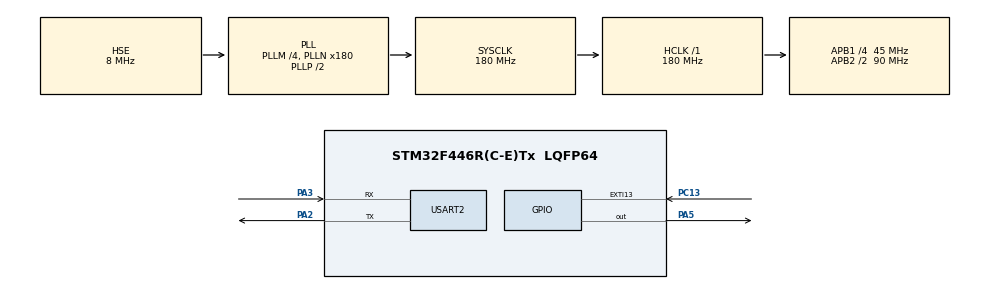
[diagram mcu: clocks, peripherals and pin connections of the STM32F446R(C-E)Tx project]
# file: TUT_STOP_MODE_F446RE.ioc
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Mcu.Family=STM32F4
Mcu.Name=STM32F446R(C-E)Tx
Mcu.Package=LQFP64
NVIC.EXTI15_10_IRQn=true\:0\:0\:false\:false\:true\:true\:true
NVIC.PriorityGroup=NVIC_PRIORITYGROUP_4
NVIC.RTC_WKUP_IRQn=true\:0\:0\:false\:false\:true\:true\:true
PA2.Mode=Asynchronous
PA2.Signal=USART2_TX
PA3.Mode=Asynchronous
PA3.Signal=USART2_RX
PA5.Signal=GPIO_Output
PC13.Signal=GPXTI13
PH0-OSC_IN.Mode=HSE-External-Oscillator
PH0-OSC_IN.Signal=RCC_OSC_IN
PH1-OSC_OUT.Mode=HSE-External-Oscillator
PH1-OSC_OUT.Signal=RCC_OSC_OUT
ProjectManager.HeapSize=0x200
ProjectManager.StackSize=0x400
ProjectManager.TargetToolchain=STM32CubeIDE
RCC.AHBFreq_Value=180000000
RCC.APB1CLKDivider=RCC_HCLK_DIV4
RCC.APB1Freq_Value=45000000
RCC.APB1TimFreq_Value=90000000
RCC.APB2CLKDivider=RCC_HCLK_DIV2
RCC.APB2Freq_Value=90000000
RCC.APB2TimFreq_Value=180000000
RCC.CortexFreq_Value=180000000
RCC.HCLKFreq_Value=180000000
RCC.HSE_VALUE=8000000
RCC.PLLM=4
RCC.PLLN=180
RCC.PLLSourceVirtual=RCC_PLLSOURCE_HSE
RCC.SYSCLKFreq_VALUE=180000000
RCC.SYSCLKSource=RCC_SYSCLKSOURCE_PLLCLK
RCC.USBFreq_Value=180000000
RCC.VCOOutputFreq_Value=360000000
USART2.VirtualMode=VM_ASYNC
VP_RTC_VS_RTC_Activate.Mode=RTC_Enabled
VP_RTC_VS_RTC_WakeUp_intern.Mode=WakeUp
board=custom

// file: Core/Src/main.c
/* USER CODE BEGIN Header */
/**
  ******************************************************************************
  * @file           : main.c
  * @brief          : Main program body
  ******************************************************************************
  * @attention
  *
  * <h2><center>&copy; Copyright (c) 2020 STMicroelectronics.
  * All rights reserved.</center></h2>
  *
  * This software component is licensed by ST under BSD 3-Clause license,
  * the "License"; You may not use this file except in compliance with the
  * License. You may obtain a copy of the License at:
  *                        opensource.org/licenses/BSD-3-Clause
  *
  ******************************************************************************
  */
/* USER CODE END Header */

#include "main.h"

/* USER CODE BEGIN Includes */

#include "string.h"

/* USER CODE END Includes */

RTC_HandleTypeDef hrtc;

UART_HandleTypeDef huart2;

void SystemClock_Config(void);
static void MX_GPIO_Init(void);
static void MX_USART2_UART_Init(void);
static void MX_RTC_Init(void);

/* USER CODE BEGIN 0 */

void HAL_GPIO_EXTI_Callback(uint16_t GPIO_Pin)
{
	if (GPIO_Pin == GPIO_PIN_13)
	{
		SystemClock_Config();
		HAL_ResumeTick();
		char *str = "WAKEUP FROM EXTII\n\n";
		HAL_UART_Transmit(&huart2, (uint8_t *) str, strlen (str), HAL_MAX_DELAY);
		HAL_PWR_DisableSleepOnExit();
	}
}

void HAL_RTCEx_WakeUpTimerEventCallback(RTC_HandleTypeDef *hrtc)
{
	SystemClock_Config();
	HAL_ResumeTick();
	char *str = "WAKEUP FROM RTC\n\n";
	HAL_UART_Transmit(&huart2, (uint8_t *) str, strlen (str), HAL_MAX_DELAY);
}

/* USER CODE END 0 */

int main(void)
{

  /* MCU Configuration--------------------------------------------------------*/

  /* Reset of all peripherals, Initializes the Flash interface and the Systick. */
  HAL_Init();

  /* Configure the system clock */
  SystemClock_Config();

  /* Initialize all configured peripherals */
  MX_GPIO_Init();
  MX_USART2_UART_Init();
  MX_RTC_Init();
  /* USER CODE BEGIN 2 */

  for (int i=0; i<20; i++)
  {
	  HAL_GPIO_TogglePin(GPIOA, GPIO_PIN_5);
	  HAL_Delay (200);
  }

  char *str = "ABOUT TO GO INTO THE STOP MODE\n\n";
  HAL_UART_Transmit(&huart2, (uint8_t *)str, strlen (str), HAL_MAX_DELAY);

  /*** RTC WAKEUP TIMER RELATED ****/

  /*## Configure the Wake up timer ###########################################*/
  /*  RTC Wake-up Interrupt Generation:
      Wake-up Time Base = (RTC_WAKEUPCLOCK_RTCCLK_DIV /(LSI))
      ==> WakeUpCounter = Wake-up Time / Wake-up Time Base

      To configure the wake up timer to 5s the WakeUpCounter is set to 0x2710:
        RTC_WAKEUPCLOCK_RTCCLK_DIV = RTCCLK_Div16 = 16
        Wake-up Time Base = 16 /(32KHz) = 0.0005 seconds
        ==> WakeUpCounter = ~5s/0.0005s = 20000 = 0x2710 */

  if (HAL_RTCEx_SetWakeUpTimer_IT(&hrtc, 0x2710, RTC_WAKEUPCLOCK_RTCCLK_DIV16) != HAL_OK)
  {
    Error_Handler();
  }

  /*** Suspend the systick before going into stop mode ****/
  HAL_SuspendTick();

  /*** enable sleep on exit for interrupt only operations ****/
  HAL_PWR_EnableSleepOnExit();

  /*** ENTER THE STOP MODE ****/
  HAL_PWR_EnterSTOPMode(PWR_LOWPOWERREGULATOR_ON, PWR_STOPENTRY_WFI);

  /*** wake up from stop mode ****/

  // disable the RTC wakeup
  HAL_RTCEx_DeactivateWakeUpTimer(&hrtc);

  for (int i=0; i<5; i++)
  {
	  HAL_GPIO_TogglePin(GPIOA, GPIO_PIN_5);
	  HAL_Delay (1000);
  }

  char *str2 = "WAKEUP FROM STOP MODE in the MAIN LOOP\n\n";
  HAL_UART_Transmit(&huart2, (uint8_t *)str2, strlen (str2), HAL_MAX_DELAY);

  /* USER CODE END 2 */

  /* Infinite loop */
  while (1)
  {

  }
}

void SystemClock_Config(void)
{
  RCC_OscInitTypeDef RCC_OscInitStruct = {0};
  RCC_ClkInitTypeDef RCC_ClkInitStruct = {0};
  RCC_PeriphCLKInitTypeDef PeriphClkInitStruct = {0};

  /** Configure the main internal regulator output voltage
  */
  __HAL_RCC_PWR_CLK_ENABLE();
  __HAL_PWR_VOLTAGESCALING_CONFIG(PWR_REGULATOR_VOLTAGE_SCALE1);
  /** Initializes the CPU, AHB and APB busses clocks
  */
  RCC_OscInitStruct.OscillatorType = RCC_OSCILLATORTYPE_LSI|RCC_OSCILLATORTYPE_HSE;
  RCC_OscInitStruct.HSEState = RCC_HSE_ON;
  RCC_OscInitStruct.LSEState = RCC_LSE_OFF;
  RCC_OscInitStruct.LSIState = RCC_LSI_ON;
  RCC_OscInitStruct.PLL.PLLState = RCC_PLL_ON;
  RCC_OscInitStruct.PLL.PLLSource = RCC_PLLSOURCE_HSE;
  RCC_OscInitStruct.PLL.PLLM = 4;
  RCC_OscInitStruct.PLL.PLLN = 180;
  RCC_OscInitStruct.PLL.PLLP = RCC_PLLP_DIV2;
  RCC_OscInitStruct.PLL.PLLQ = 2;
  RCC_OscInitStruct.PLL.PLLR = 2;
  if (HAL_RCC_OscConfig(&RCC_OscInitStruct) != HAL_OK)
  {
    Error_Handler();
  }
  /** Activate the Over-Drive mode
  */
  if (HAL_PWREx_EnableOverDrive() != HAL_OK)
  {
    Error_Handler();
  }
  /** Initializes the CPU, AHB and APB busses clocks
  */
  RCC_ClkInitStruct.ClockType = RCC_CLOCKTYPE_HCLK|RCC_CLOCKTYPE_SYSCLK
                              |RCC_CLOCKTYPE_PCLK1|RCC_CLOCKTYPE_PCLK2;
  RCC_ClkInitStruct.SYSCLKSource = RCC_SYSCLKSOURCE_PLLCLK;
  RCC_ClkInitStruct.AHBCLKDivider = RCC_SYSCLK_DIV1;
  RCC_ClkInitStruct.APB1CLKDivider = RCC_HCLK_DIV4;
  RCC_ClkInitStruct.APB2CLKDivider = RCC_HCLK_DIV2;

  if (HAL_RCC_ClockConfig(&RCC_ClkInitStruct, FLASH_LATENCY_5) != HAL_OK)
  {
    Error_Handler();
  }
  PeriphClkInitStruct.PeriphClockSelection = RCC_PERIPHCLK_RTC;
  PeriphClkInitStruct.RTCClockSelection = RCC_RTCCLKSOURCE_LSI;
  if (HAL_RCCEx_PeriphCLKConfig(&PeriphClkInitStruct) != HAL_OK)
  {
    Error_Handler();
  }
}

static void MX_RTC_Init(void)
{

  RTC_TimeTypeDef sTime = {0};
  RTC_DateTypeDef sDate = {0};

  /** Initialize RTC Only
  */
  hrtc.Instance = RTC;
  hrtc.Init.HourFormat = RTC_HOURFORMAT_24;
  hrtc.Init.AsynchPrediv = 127;
  hrtc.Init.SynchPrediv = 255;
  hrtc.Init.OutPut = RTC_OUTPUT_DISABLE;
  hrtc.Init.OutPutPolarity = RTC_OUTPUT_POLARITY_HIGH;
  hrtc.Init.OutPutType = RTC_OUTPUT_TYPE_OPENDRAIN;
  if (HAL_RTC_Init(&hrtc) != HAL_OK)
  {
    Error_Handler();
  }

  /** Initialize RTC and set the Time and Date
  */
  sTime.Hours = 0x0;
  sTime.Minutes = 0x0;
  sTime.Seconds = 0x0;
  sTime.DayLightSaving = RTC_DAYLIGHTSAVING_NONE;
  sTime.StoreOperation = RTC_STOREOPERATION_RESET;
  if (HAL_RTC_SetTime(&hrtc, &sTime, RTC_FORMAT_BCD) != HAL_OK)
  {
    Error_Handler();
  }
  sDate.WeekDay = RTC_WEEKDAY_MONDAY;
  sDate.Month = RTC_MONTH_JANUARY;
  sDate.Date = 0x1;
  sDate.Year = 0x0;

  if (HAL_RTC_SetDate(&hrtc, &sDate, RTC_FORMAT_BCD) != HAL_OK)
  {
    Error_Handler();
  }
  /** Enable the WakeUp
  */
/*  if (HAL_RTCEx_SetWakeUpTimer_IT(&hrtc, 0, RTC_WAKEUPCLOCK_RTCCLK_DIV16) != HAL_OK)
  {
    Error_Handler();
  }*/

}

static void MX_USART2_UART_Init(void)
{

  huart2.Instance = USART2;
  huart2.Init.BaudRate = 115200;
  huart2.Init.WordLength = UART_WORDLENGTH_8B;
  huart2.Init.StopBits = UART_STOPBITS_1;
  huart2.Init.Parity = UART_PARITY_NONE;
  huart2.Init.Mode = UART_MODE_TX_RX;
  huart2.Init.HwFlowCtl = UART_HWCONTROL_NONE;
  huart2.Init.OverSampling = UART_OVERSAMPLING_16;
  if (HAL_UART_Init(&huart2) != HAL_OK)
  {
    Error_Handler();
  }

}

static void MX_GPIO_Init(void)
{
  GPIO_InitTypeDef GPIO_InitStruct = {0};

  /* GPIO Ports Clock Enable */
  __HAL_RCC_GPIOC_CLK_ENABLE();
  __HAL_RCC_GPIOH_CLK_ENABLE();
  __HAL_RCC_GPIOA_CLK_ENABLE();

  /*Configure GPIO pin Output Level */
  HAL_GPIO_WritePin(GPIOA, GPIO_PIN_5, GPIO_PIN_RESET);

  /*Configure GPIO pin : PC13 */
  GPIO_InitStruct.Pin = GPIO_PIN_13;
  GPIO_InitStruct.Mode = GPIO_MODE_IT_RISING;
  GPIO_InitStruct.Pull = GPIO_NOPULL;
  HAL_GPIO_Init(GPIOC, &GPIO_InitStruct);

  /*Configure GPIO pin : PA5 */
  GPIO_InitStruct.Pin = GPIO_PIN_5;
  GPIO_InitStruct.Mode = GPIO_MODE_OUTPUT_PP;
  GPIO_InitStruct.Pull = GPIO_NOPULL;
  GPIO_InitStruct.Speed = GPIO_SPEED_FREQ_LOW;
  HAL_GPIO_Init(GPIOA, &GPIO_InitStruct);

  /* EXTI interrupt init*/
  HAL_NVIC_SetPriority(EXTI15_10_IRQn, 0, 0);
  HAL_NVIC_EnableIRQ(EXTI15_10_IRQn);

}

void Error_Handler(void)
{
}

/************************ (C) COPYRIGHT STMicroelectronics *****END OF FILE****/
